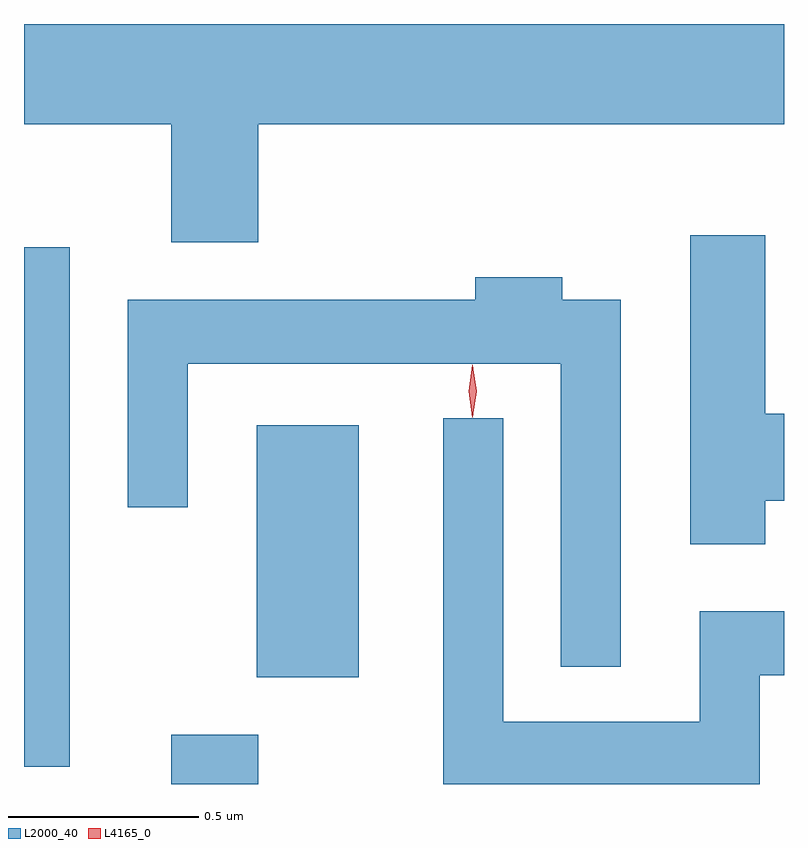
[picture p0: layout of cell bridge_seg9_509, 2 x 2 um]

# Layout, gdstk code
import gdstk
lib = gdstk.Library(unit=1e-6, precision=1e-09)
def R(c, l, rs):  # rectangles x0, y0, x1, y1
    for r in rs: c.add(gdstk.rectangle(r[:2], r[2:], *l))
def P(c, l, *ps):  # polygons
    for p in ps: c.add(gdstk.Polygon(p, *l))
L2000_40 = (2000, 40)
L4165_0 = (4165, 0)

bridge_seg9_509 = lib.new_cell('bridge_seg9_509')
R(bridge_seg9_509, L2000_40, [(546.561,1945.68,546.789,1945.809), (546.173,1945.726,546.294,1947.093), (546.786,1945.961,547.054,1946.624)])
P(bridge_seg9_509, L2000_40, [(546.789,1947.416),(548.173,1947.416),(548.173,1947.68),(546.173,1947.68),(546.173,1947.416),(546.561,1947.416),(546.561,1947.106),(546.789,1947.106)],
  [(548.124,1946.426),(548.173,1946.426),(548.173,1946.654),(548.124,1946.654),(548.124,1947.124),(547.926,1947.124),(547.926,1946.311),(548.124,1946.311)],
  [(547.744,1946.954),(547.589,1946.954),(547.589,1947.014),(547.361,1947.014),(547.361,1946.954),(546.446,1946.954),(546.446,1946.408),(546.604,1946.408),(546.604,1946.786),(547.586,1946.786),(547.586,1945.988),(547.744,1945.988)],
  [(548.109,1945.966),(548.173,1945.966),(548.173,1946.134),(547.951,1946.134),(547.951,1945.844),(547.434,1945.844),(547.434,1946.643),(547.276,1946.643),(547.276,1945.68),(548.109,1945.68)])
P(bridge_seg9_509, L4165_0, [(547.353,1946.645),(547.353,1946.645),(547.343,1946.714),(547.353,1946.782),(547.353,1946.783),(547.354,1946.782),(547.363,1946.714),(547.354,1946.645)],
  [(547.353,1946.648),(547.344,1946.714),(547.353,1946.78),(547.354,1946.78),(547.354,1946.78),(547.364,1946.714),(547.354,1946.648),(547.354,1946.648)])

lib.write_gds('bridge_seg9_509.gds')
